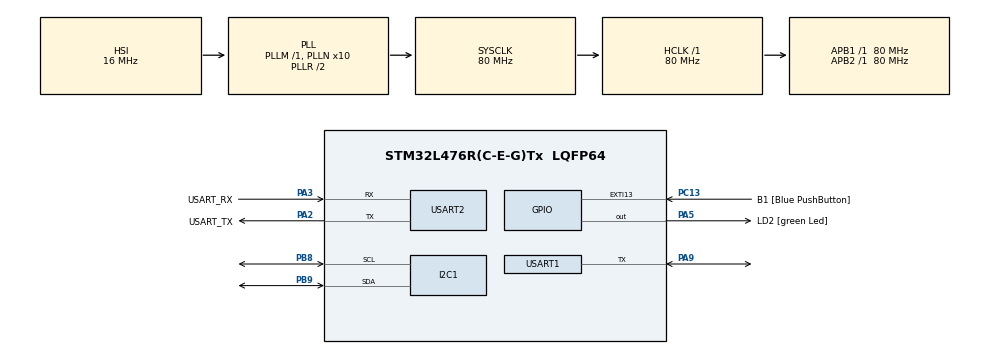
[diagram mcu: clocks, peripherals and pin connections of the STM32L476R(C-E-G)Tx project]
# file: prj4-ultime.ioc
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I2C1.Timing=0x10909CEC
Mcu.Family=STM32L4
Mcu.Name=STM32L476R(C-E-G)Tx
Mcu.Package=LQFP64
NVIC.PriorityGroup=NVIC_PRIORITYGROUP_4
NVIC.TIM1_UP_TIM16_IRQn=true\:0\:0\:false\:false\:true\:true\:true\:true
PA13\ (JTMS-SWDIO).GPIO_Label=TMS
PA13\ (JTMS-SWDIO).Mode=Serial_Wire
PA13\ (JTMS-SWDIO).Signal=SYS_JTMS-SWDIO
PA14\ (JTCK-SWCLK).GPIO_Label=TCK
PA14\ (JTCK-SWCLK).Mode=Serial_Wire
PA14\ (JTCK-SWCLK).Signal=SYS_JTCK-SWCLK
PA2.GPIO_Label=USART_TX
PA2.GPIO_Mode=GPIO_MODE_AF_PP
PA2.GPIO_PuPd=GPIO_NOPULL
PA2.GPIO_Speed=GPIO_SPEED_FREQ_VERY_HIGH
PA2.Mode=Asynchronous
PA2.Signal=USART2_TX
PA3.GPIO_Label=USART_RX
PA3.GPIO_Mode=GPIO_MODE_AF_PP
PA3.GPIO_PuPd=GPIO_NOPULL
PA3.GPIO_Speed=GPIO_SPEED_FREQ_VERY_HIGH
PA3.Mode=Asynchronous
PA3.Signal=USART2_RX
PA5.GPIO_Label=LD2 [green Led]
PA5.GPIO_ModeDefaultOutputPP=GPIO_MODE_OUTPUT_PP
PA5.GPIO_PuPd=GPIO_NOPULL
PA5.GPIO_Speed=GPIO_SPEED_FREQ_LOW
PA5.Signal=GPIO_Output
PA9.Mode=Half_duplex(single_wire_mode)
PA9.Signal=USART1_TX
PB3\ (JTDO-TRACESWO).GPIO_Label=SWO
PB3\ (JTDO-TRACESWO).Signal=SYS_JTDO-SWO
PB8.Mode=I2C
PB8.Signal=I2C1_SCL
PB9.Mode=I2C
PB9.Signal=I2C1_SDA
PC13.GPIO_Label=B1 [Blue PushButton]
PC13.GPIO_ModeDefaultEXTI=GPIO_MODE_IT_FALLING
PC13.GPIO_PuPd=GPIO_NOPULL
PC13.Signal=GPXTI13
PC14-OSC32_IN\ (PC14).Mode=LSE-External-Oscillator
PC14-OSC32_IN\ (PC14).Signal=RCC_OSC32_IN
PC15-OSC32_OUT\ (PC15).Mode=LSE-External-Oscillator
PC15-OSC32_OUT\ (PC15).Signal=RCC_OSC32_OUT
PH0-OSC_IN\ (PH0).Signal=RCC_OSC_IN
PH1-OSC_OUT\ (PH1).Signal=RCC_OSC_OUT
ProjectManager.HeapSize=0x200
ProjectManager.StackSize=0x400
ProjectManager.TargetToolchain=STM32CubeIDE
RCC.ADCFreq_Value=64000000
RCC.AHBFreq_Value=80000000
RCC.APB1Freq_Value=80000000
RCC.APB1TimFreq_Value=80000000
RCC.APB2Freq_Value=80000000
RCC.APB2TimFreq_Value=80000000
RCC.CortexFreq_Value=80000000
RCC.HCLKFreq_Value=80000000
RCC.HSE_VALUE=8000000
RCC.HSI_VALUE=16000000
RCC.MSI_VALUE=4000000
RCC.PLLN=10
RCC.PLLSourceVirtual=RCC_PLLSOURCE_HSI
RCC.PREFETCH_ENABLE=1
RCC.SYSCLKFreq_VALUE=80000000
RCC.SYSCLKSource=RCC_SYSCLKSOURCE_PLLCLK
RCC.USBFreq_Value=64000000
RCC.VCOOutputFreq_Value=160000000
TIM16.Period=80
TIM16.Prescaler=80
USART1.OneBitSampling=UART_ONE_BIT_SAMPLE_ENABLE
USART1.Parity=PARITY_NONE
USART1.VirtualMode-Half_duplex(single_wire_mode)=VM_ASYNC
USART2.VirtualMode-Asynchronous=VM_ASYNC
VP_TIM16_VS_ClockSourceINT.Mode=Enable_Timer
board=NUCLEO-L476RG

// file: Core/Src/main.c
/* USER CODE BEGIN Header */
/**
  ******************************************************************************
  * @file           : main.c
  * @brief          : Main program body
  ******************************************************************************
  * @attention
  *
  * Copyright (c) 2024 STMicroelectronics.
  * All rights reserved.
  *
  * This software is licensed under terms that can be found in the LICENSE file
  * in the root directory of this software component.
  * If no LICENSE file comes with this software, it is provided AS-IS.
  *
  ******************************************************************************
  */
/* USER CODE END Header */
#include "main.h"
#include "i2c.h"
#include "tim.h"
#include "usart.h"
#include "gpio.h"

/* USER CODE BEGIN Includes */
#include "lib_lcd.h"
#include <stdio.h>
#include <stdlib.h>
#include "sht31.h"	// LA NOTRE
#include "sht3x.h"
/* USER CODE END Includes */

/* USER CODE BEGIN PTD */
static rgb_lcd LCD_datastruct;
static sht3x_handle_t sht_handle = {
		.device_address = 0x44,
		.i2c_handle = &hi2c1,
};
uint32_t tic = 0;
/* USER CODE END PTD */

void SystemClock_Config(void);

/* USER CODE BEGIN 0 */
int boucle = 0;

/* USER CODE END 0 */

int main(void)
{

  /* MCU Configuration--------------------------------------------------------*/

  /* Reset of all peripherals, Initializes the Flash interface and the Systick. */
  HAL_Init();

  /* Configure the system clock */
  SystemClock_Config();

  /* Initialize all configured peripherals */
  MX_GPIO_Init();
  MX_USART2_UART_Init();
  MX_I2C1_Init();
  MX_USART1_UART_Init();
  MX_TIM16_Init();
  /* USER CODE BEGIN 2 */
  lcd_init(&hi2c1, &LCD_datastruct);
  reglagecouleur(100, 100, 100);
  lcd_clear();
  sht3x_init(&sht_handle);

  HAL_TIM_Base_Start_IT(&htim16); // start timer

  float hum = 16;
  char ent_hum[64];

  float temp = 97;
  char ent_temp[64];
  char dec_temp[64];
  int dec_T;

  /* USER CODE END 2 */

  /* Infinite loop */
  while (1)
  {

    /* USER CODE BEGIN 3 */

	  // Echantillonnage
	  lcd_position(&hi2c1, 13, 0);
	  if (sht3x_read_temperature_and_humidity(&sht_handle, &temp, &hum) == true)
		  lcd_print(&hi2c1, "OK");
	  else
		  lcd_print(&hi2c1, " !");

	  // Parsing
	  itoa((int)hum, ent_hum, 10);
	  itoa((int)temp, ent_temp, 10);
	  dec_T = (int)(temp * 10) % 10;
	  itoa(dec_T, dec_temp, 10);

	  // Affichage
	  lcd_position(&hi2c1, 0, 0);
	  lcd_print(&hi2c1, "T: ");
	  lcd_print(&hi2c1, ent_temp);
	  lcd_print(&hi2c1, ".");
	  lcd_print(&hi2c1, dec_temp);
	  lcd_print(&hi2c1, "C");

	  lcd_position(&hi2c1, 0, 1);
	  lcd_print(&hi2c1, "H: ");
	  lcd_print(&hi2c1, ent_hum);
	  lcd_print(&hi2c1, "%");

	  HAL_Delay(500);
  }
  /* USER CODE END 3 */
}

void SystemClock_Config(void)
{
  RCC_OscInitTypeDef RCC_OscInitStruct = {0};
  RCC_ClkInitTypeDef RCC_ClkInitStruct = {0};

  /** Configure the main internal regulator output voltage
  */
  if (HAL_PWREx_ControlVoltageScaling(PWR_REGULATOR_VOLTAGE_SCALE1) != HAL_OK)
  {
    Error_Handler();
  }

  /** Initializes the RCC Oscillators according to the specified parameters
  * in the RCC_OscInitTypeDef structure.
  */
  RCC_OscInitStruct.OscillatorType = RCC_OSCILLATORTYPE_HSI;
  RCC_OscInitStruct.HSIState = RCC_HSI_ON;
  RCC_OscInitStruct.HSICalibrationValue = RCC_HSICALIBRATION_DEFAULT;
  RCC_OscInitStruct.PLL.PLLState = RCC_PLL_ON;
  RCC_OscInitStruct.PLL.PLLSource = RCC_PLLSOURCE_HSI;
  RCC_OscInitStruct.PLL.PLLM = 1;
  RCC_OscInitStruct.PLL.PLLN = 10;
  RCC_OscInitStruct.PLL.PLLP = RCC_PLLP_DIV7;
  RCC_OscInitStruct.PLL.PLLQ = RCC_PLLQ_DIV2;
  RCC_OscInitStruct.PLL.PLLR = RCC_PLLR_DIV2;
  if (HAL_RCC_OscConfig(&RCC_OscInitStruct) != HAL_OK)
  {
    Error_Handler();
  }

  /** Initializes the CPU, AHB and APB buses clocks
  */
  RCC_ClkInitStruct.ClockType = RCC_CLOCKTYPE_HCLK|RCC_CLOCKTYPE_SYSCLK
                              |RCC_CLOCKTYPE_PCLK1|RCC_CLOCKTYPE_PCLK2;
  RCC_ClkInitStruct.SYSCLKSource = RCC_SYSCLKSOURCE_PLLCLK;
  RCC_ClkInitStruct.AHBCLKDivider = RCC_SYSCLK_DIV1;
  RCC_ClkInitStruct.APB1CLKDivider = RCC_HCLK_DIV1;
  RCC_ClkInitStruct.APB2CLKDivider = RCC_HCLK_DIV1;

  if (HAL_RCC_ClockConfig(&RCC_ClkInitStruct, FLASH_LATENCY_4) != HAL_OK)
  {
    Error_Handler();
  }
}

/* USER CODE BEGIN 4 */
// Callback: timer has rolled over
void HAL_TIM_PeriodElapsedCallback(TIM_HandleTypeDef *htim)
{
  // Check which version of the timer triggered this callback and toggle LED
  if (htim == &htim16 ) {
	  tic++;
	  if (tic >= 4294967296) tic = 0;
  }
}
/* USER CODE END 4 */

void Error_Handler(void)
{
  __disable_irq();
  while (1)
  {
  }
}
